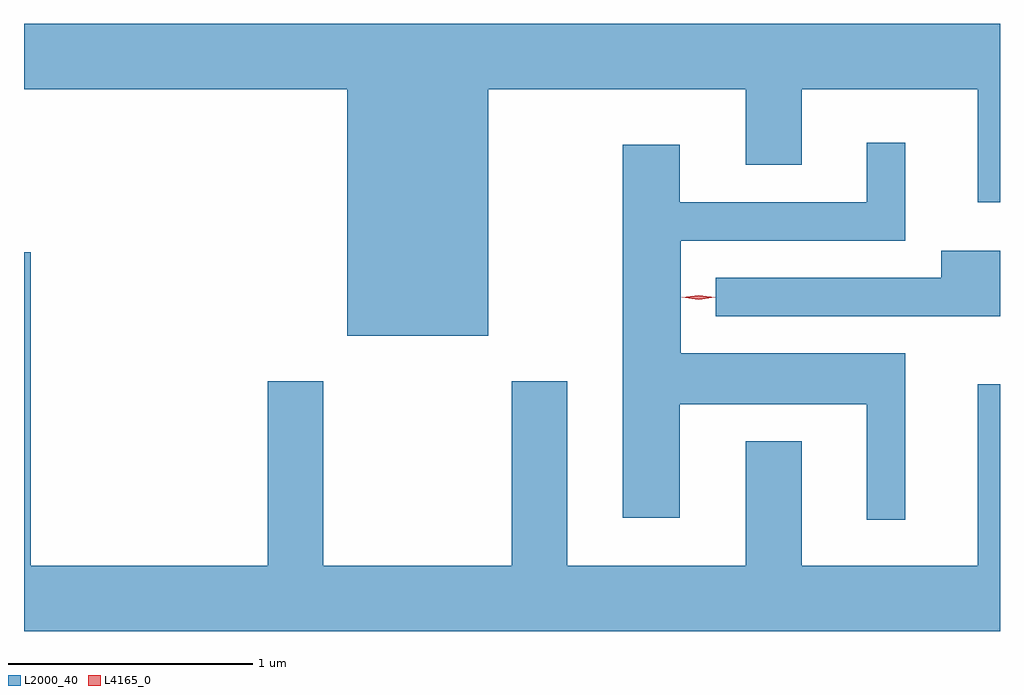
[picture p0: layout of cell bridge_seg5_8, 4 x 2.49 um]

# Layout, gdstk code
import gdstk
lib = gdstk.Library(unit=1e-6, precision=1e-09)
def P(c, l, *ps):  # polygons
    for p in ps: c.add(gdstk.Polygon(p, *l))
L2000_40 = (2000, 40)
L4165_0 = (4165, 0)

bridge_seg5_8 = lib.new_cell('bridge_seg5_8')
P(bridge_seg5_8, L2000_40, [(1788.724,1401.296),(1789.781,1401.296),(1789.781,1400.986),(1790.009,1400.986),(1790.009,1401.296),(1790.731,1401.296),(1790.731,1400.833),(1790.822,1400.833),(1790.822,1401.564),(1786.822,1401.564),(1786.822,1401.296),(1788.146,1401.296),(1788.146,1400.286),(1788.724,1400.286)],
  [(1790.434,1400.214),(1789.514,1400.214),(1789.514,1400.676),(1790.434,1400.676),(1790.434,1401.078),(1790.276,1401.078),(1790.276,1400.834),(1789.509,1400.834),(1789.509,1401.069),(1789.276,1401.069),(1789.276,1399.541),(1789.509,1399.541),(1789.509,1400.006),(1790.276,1400.006),(1790.276,1399.533),(1790.434,1399.533)],
  [(1790.822,1400.634),(1790.581,1400.634),(1790.581,1400.524),(1789.658,1400.524),(1789.658,1400.366),(1790.822,1400.366)],
  [(1790.822,1400.088),(1790.731,1400.088),(1790.731,1399.344),(1790.009,1399.344),(1790.009,1399.854),(1789.781,1399.854),(1789.781,1399.344),(1789.049,1399.344),(1789.049,1400.099),(1788.821,1400.099),(1788.821,1399.344),(1788.049,1399.344),(1788.049,1400.099),(1787.821,1400.099),(1787.821,1399.344),(1786.849,1399.344),(1786.849,1400.629),(1786.822,1400.629),(1786.822,1399.076),(1790.822,1399.076)])
P(bridge_seg5_8, L4165_0, [(1789.587,1400.433),(1789.518,1400.443),(1789.517,1400.443),(1789.518,1400.444),(1789.587,1400.453),(1789.656,1400.444),(1789.656,1400.443),(1789.656,1400.443)],
  [(1789.587,1400.433),(1789.521,1400.443),(1789.52,1400.443),(1789.521,1400.444),(1789.587,1400.453),(1789.652,1400.444),(1789.653,1400.443),(1789.652,1400.443)])

lib.write_gds('bridge_seg5_8.gds')
